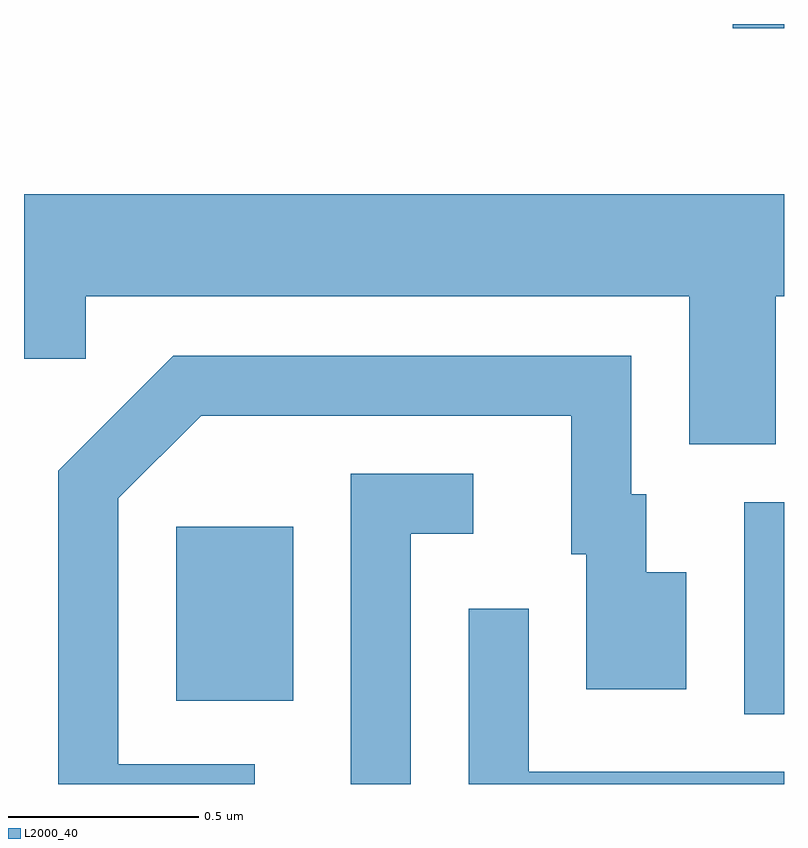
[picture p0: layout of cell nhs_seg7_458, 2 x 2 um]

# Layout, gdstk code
import gdstk
lib = gdstk.Library(unit=1e-6, precision=1e-09)
def R(c, l, rs):  # rectangles x0, y0, x1, y1
    for r in rs: c.add(gdstk.rectangle(r[:2], r[2:], *l))
def P(c, l, *ps):  # polygons
    for p in ps: c.add(gdstk.Polygon(p, *l))
L2000_40 = (2000, 40)

nhs_seg7_458 = lib.new_cell('nhs_seg7_458')
R(nhs_seg7_458, L2000_40, [(190.506,1715.436,190.611,1715.994), (189.011,1715.471,189.319,1715.929), (190.476,1717.241,190.611,1717.252)])
P(nhs_seg7_458, L2000_40, [(190.589,1716.536),(190.611,1716.536),(190.611,1716.804),(188.611,1716.804),(188.611,1716.371),(188.774,1716.371),(188.774,1716.536),(190.361,1716.536),(190.361,1716.146),(190.589,1716.146)],
  [(189.218,1715.304),(188.859,1715.304),(188.859,1716.004),(189.077,1716.221),(190.051,1716.221),(190.051,1715.856),(190.091,1715.856),(190.091,1715.501),(190.354,1715.501),(190.354,1715.809),(190.249,1715.809),(190.249,1716.014),(190.209,1716.014),(190.209,1716.379),(189.004,1716.379),(188.701,1716.077),(188.701,1715.252),(189.218,1715.252)],
  [(189.629,1715.911),(189.793,1715.911),(189.793,1716.069),(189.471,1716.069),(189.471,1715.252),(189.629,1715.252)],
  [(190.611,1715.284),(189.939,1715.284),(189.939,1715.713),(189.781,1715.713),(189.781,1715.252),(190.611,1715.252)])

lib.write_gds('nhs_seg7_458.gds')
